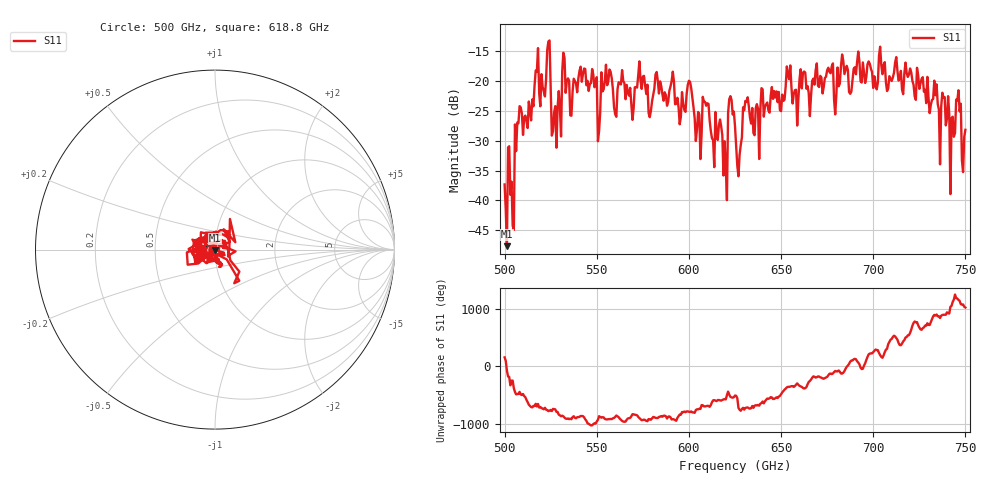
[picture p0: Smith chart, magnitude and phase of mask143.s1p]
!Created with skrf (http://scikit-rf.org).
# GHz S MA R 50.0
!freq magS11 angS11
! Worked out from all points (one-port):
!   401 points, 500 GHz to 750 GHz, reference 50 ohm
!   lowest |S11| = -47.7 dB at 501.2 GHz (marker M1), VSWR 1.01, Z = 50.1 - j0.4 ohm
!   |S11| at or under -10 dB: start of sweep to end of sweep
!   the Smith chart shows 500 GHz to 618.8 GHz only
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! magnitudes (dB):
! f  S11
! 500 GHz  -37.3
! 501.2 GHz  -47.7
! 503.8 GHz  -36.9
! 506.9 GHz  -26.9
! 517.5 GHz  -18.4
! 520.6 GHz  -20.9
! 523.8 GHz  -13.3
! 526.9 GHz  -25.2
! 531.2 GHz  -18.4
! 548.8 GHz  -21.0
! 551.9 GHz  -25.2
! 553.8 GHz  -21.3
! 562.5 GHz  -20.3
! 593.8 GHz  -22.8
! 600.6 GHz  -20.1
! 605 GHz  -25.2
! 608.8 GHz  -23.5
! 619.4 GHz  -30.1
! 622.5 GHz  -22.5
! 625 GHz  -27.5
! 626.9 GHz  -36.0
! 630.6 GHz  -23.3
! 656.2 GHz  -23.7
! 687.5 GHz  -22.1
! 718.8 GHz  -19.3
! 743.1 GHz  -25.9
! 746.2 GHz  -21.5
! 750 GHz  -28.1
